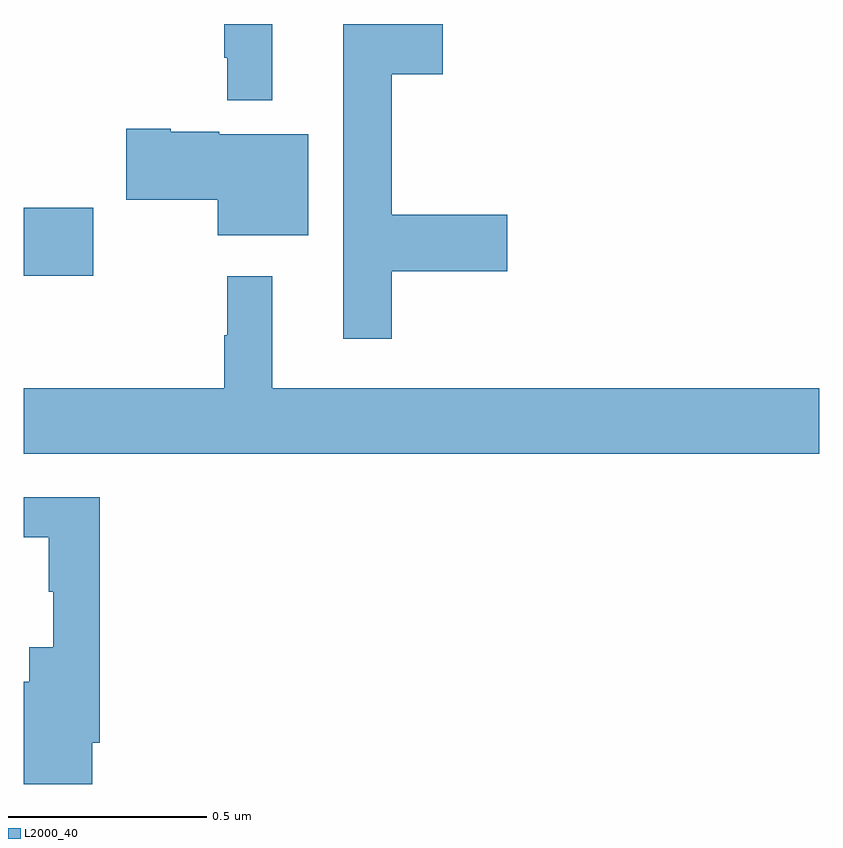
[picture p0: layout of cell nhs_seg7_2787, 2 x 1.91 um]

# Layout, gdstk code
import gdstk
lib = gdstk.Library(unit=1e-6, precision=1e-09)
def R(c, l, rs):  # rectangles x0, y0, x1, y1
    for r in rs: c.add(gdstk.rectangle(r[:2], r[2:], *l))
def P(c, l, *ps):  # polygons
    for p in ps: c.add(gdstk.Polygon(p, *l))
L2000_40 = (2000, 40)

nhs_seg7_2787 = lib.new_cell('nhs_seg7_2787')
R(nhs_seg7_2787, L2000_40, [(150,1030.367,150.175,1030.538)])
P(nhs_seg7_2787, L2000_40, [(150.625,1031),(150.504,1031),(150.504,1030.915),(150.511,1030.915),(150.511,1030.808),(150.625,1030.808)],
  [(150.925,1030.378),(151.216,1030.378),(151.216,1030.52),(150.925,1030.52),(150.925,1030.874),(151.054,1030.874),(151.054,1031),(150.803,1031),(150.803,1030.209),(150.925,1030.209)],
  [(150.715,1030.723),(150.492,1030.723),(150.492,1030.729),(150.37,1030.729),(150.37,1030.736),(150.258,1030.736),(150.258,1030.558),(150.488,1030.558),(150.488,1030.469),(150.715,1030.469)],
  [(152,1030.084),(150.625,1030.084),(150.625,1030.366),(150.511,1030.366),(150.511,1030.217),(150.504,1030.217),(150.504,1030.084),(150,1030.084),(150,1029.92),(152,1029.92)],
  [(150.172,1029.193),(150.191,1029.193),(150.191,1029.81),(150,1029.81),(150,1029.709),(150.063,1029.709),(150.063,1029.573),(150.074,1029.573),(150.074,1029.433),(150.014,1029.433),(150.014,1029.346),(150,1029.346),(150,1029.089),(150.172,1029.089)])

lib.write_gds('nhs_seg7_2787.gds')
